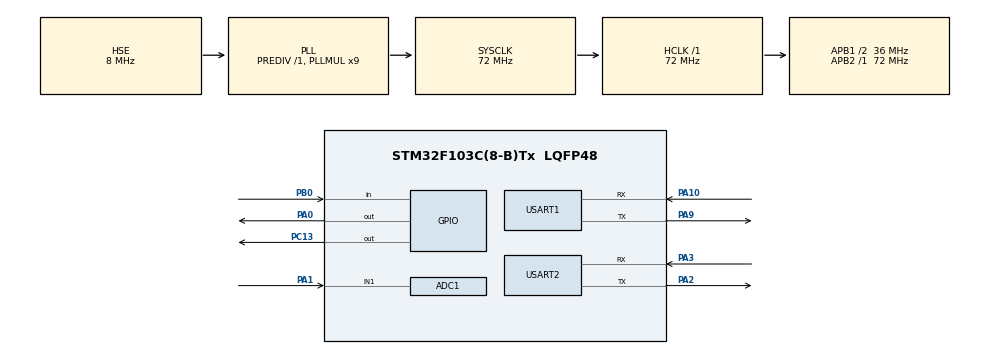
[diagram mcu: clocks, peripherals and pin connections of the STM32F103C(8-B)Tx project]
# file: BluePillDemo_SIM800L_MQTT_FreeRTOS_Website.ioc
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ADC1.Channel-0\#ChannelRegularConversion=ADC_CHANNEL_1
ADC1.NbrOfConversionFlag=1
ADC1.Rank-0\#ChannelRegularConversion=1
ADC1.SamplingTime-0\#ChannelRegularConversion=ADC_SAMPLETIME_1CYCLE_5
ADC1.master=1
Dma.Request0=USART1_RX
Dma.Request1=USART1_TX
Dma.USART1_RX.0.Direction=DMA_PERIPH_TO_MEMORY
Dma.USART1_RX.0.Instance=DMA1_Channel5
Dma.USART1_RX.0.MemDataAlignment=DMA_MDATAALIGN_BYTE
Dma.USART1_RX.0.MemInc=DMA_MINC_ENABLE
Dma.USART1_RX.0.Mode=DMA_CIRCULAR
Dma.USART1_RX.0.PeriphDataAlignment=DMA_PDATAALIGN_BYTE
Dma.USART1_RX.0.PeriphInc=DMA_PINC_DISABLE
Dma.USART1_RX.0.Priority=DMA_PRIORITY_VERY_HIGH
Dma.USART1_TX.1.Direction=DMA_MEMORY_TO_PERIPH
Dma.USART1_TX.1.Instance=DMA1_Channel4
Dma.USART1_TX.1.MemDataAlignment=DMA_MDATAALIGN_BYTE
Dma.USART1_TX.1.MemInc=DMA_MINC_ENABLE
Dma.USART1_TX.1.Mode=DMA_NORMAL
Dma.USART1_TX.1.PeriphDataAlignment=DMA_PDATAALIGN_BYTE
Dma.USART1_TX.1.PeriphInc=DMA_PINC_DISABLE
Dma.USART1_TX.1.Priority=DMA_PRIORITY_VERY_HIGH
FREERTOS.Queues01=commandQueue,1,AtCommandPacket_t,0,Static,commandQueueBuffer,commandQueueControlBlock;responseQueue,1,AtResponsePacket_t,0,Static,responseQueueBuffer,responseQueueControlBlock
FREERTOS.RecursiveMutexes01=modemMutex,Static,modemMutexControlBlock
FREERTOS.Tasks01=main,24,250,mainTask,Default,NULL,Static,mainBuffer,mainControlBlock;modem,8,350,modemTask,Default,NULL,Static,modemBuffer,modemControlBlock
FREERTOS.configCHECK_FOR_STACK_OVERFLOW=2
Mcu.Family=STM32F1
Mcu.Name=STM32F103C(8-B)Tx
Mcu.Package=LQFP48
NVIC.ADC1_2_IRQn=true\:5\:0\:false\:false\:true\:true\:true\:true
NVIC.DMA1_Channel4_IRQn=true\:5\:0\:false\:false\:true\:true\:false\:true
NVIC.DMA1_Channel5_IRQn=true\:5\:0\:false\:false\:true\:true\:false\:true
NVIC.PriorityGroup=NVIC_PRIORITYGROUP_4
NVIC.TIM1_UP_IRQn=true\:0\:0\:false\:false\:true\:false\:false\:true
NVIC.TimeBase=TIM1_UP_IRQn
NVIC.TimeBaseIP=TIM1
NVIC.USART1_IRQn=true\:5\:0\:false\:false\:true\:true\:true\:true
PA0-WKUP.Signal=GPIO_Output
PA1.Signal=ADCx_IN1
PA10.Mode=Asynchronous
PA10.Signal=USART1_RX
PA13.Mode=Serial_Wire
PA13.Signal=SYS_JTMS-SWDIO
PA14.Mode=Serial_Wire
PA14.Signal=SYS_JTCK-SWCLK
PA2.Mode=Asynchronous
PA2.Signal=USART2_TX
PA3.Mode=Asynchronous
PA3.Signal=USART2_RX
PA9.Mode=Asynchronous
PA9.Signal=USART1_TX
PB0.GPIO_PuPd=GPIO_PULLUP
PB0.Signal=GPIO_Input
PC13-TAMPER-RTC.PinState=GPIO_PIN_SET
PC13-TAMPER-RTC.Signal=GPIO_Output
PC14-OSC32_IN.Mode=LSE-External-Oscillator
PC14-OSC32_IN.Signal=RCC_OSC32_IN
PC15-OSC32_OUT.Mode=LSE-External-Oscillator
PC15-OSC32_OUT.Signal=RCC_OSC32_OUT
PD0-OSC_IN.Mode=HSE-External-Oscillator
PD0-OSC_IN.Signal=RCC_OSC_IN
PD1-OSC_OUT.Mode=HSE-External-Oscillator
PD1-OSC_OUT.Signal=RCC_OSC_OUT
ProjectManager.HeapSize=0x200
ProjectManager.StackSize=0x400
ProjectManager.TargetToolchain=STM32CubeIDE
RCC.ADCPresc=RCC_ADCPCLK2_DIV6
RCC.AHBFreq_Value=72000000
RCC.APB1CLKDivider=RCC_HCLK_DIV2
RCC.APB1Freq_Value=36000000
RCC.APB1TimFreq_Value=72000000
RCC.APB2Freq_Value=72000000
RCC.APB2TimFreq_Value=72000000
RCC.HCLKFreq_Value=72000000
RCC.PLLMUL=RCC_PLL_MUL9
RCC.PLLSourceVirtual=RCC_PLLSOURCE_HSE
RCC.SYSCLKFreq_VALUE=72000000
RCC.SYSCLKSource=RCC_SYSCLKSOURCE_PLLCLK
RCC.USBFreq_Value=72000000
SH.ADCx_IN1.0=ADC1_IN1,IN1
USART1.VirtualMode=VM_ASYNC
USART2.VirtualMode=VM_ASYNC
VP_FREERTOS_VS_CMSIS_V2.Mode=CMSIS_V2
VP_SYS_VS_tim1.Mode=TIM1
board=custom

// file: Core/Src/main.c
/* USER CODE BEGIN Header */
/**
  ******************************************************************************
  * @file           : main.c
  * @brief          : Main program body
  ******************************************************************************
  * @attention
  *
  * <h2><center>&copy; Copyright (c) 2020 STMicroelectronics.
  * All rights reserved.</center></h2>
  *
  * This software component is licensed by ST under BSD 3-Clause license,
  * the "License"; You may not use this file except in compliance with the
  * License. You may obtain a copy of the License at:
  *                        opensource.org/licenses/BSD-3-Clause
  *
  ******************************************************************************
  */
/* USER CODE END Header */

#include "main.h"
#include "cmsis_os.h"

/* USER CODE BEGIN Includes */
#include <stdlib.h>
#include <string.h>
#include "task.h"
#include "modem.h"
#include "buffered_serial.h"
#include "mqtt.h"

/* USER CODE END Includes */

/* USER CODE BEGIN PD */
#define ACCESS_POINT_NAME		"everywhere"
#define USER_NAME				"eesecure"
#define PASSWORD				"secure"

/* USER CODE END PD */

ADC_HandleTypeDef hadc1;

UART_HandleTypeDef huart1;
UART_HandleTypeDef huart2;
DMA_HandleTypeDef hdma_usart1_rx;
DMA_HandleTypeDef hdma_usart1_tx;

typedef StaticTask_t osStaticThreadDef_t;
typedef StaticQueue_t osStaticMessageQDef_t;
typedef StaticSemaphore_t osStaticMutexDef_t;
osThreadId_t mainHandle;
uint32_t mainBuffer[ 250 ];
osStaticThreadDef_t mainControlBlock;
osThreadId_t modemHandle;
uint32_t modemBuffer[ 350 ];
osStaticThreadDef_t modemControlBlock;
osMessageQueueId_t commandQueueHandle;
uint8_t commandQueueBuffer[ 1 * sizeof( AtCommandPacket_t ) ];
osStaticMessageQDef_t commandQueueControlBlock;
osMessageQueueId_t responseQueueHandle;
uint8_t responseQueueBuffer[ 1 * sizeof( AtResponsePacket_t ) ];
osStaticMessageQDef_t responseQueueControlBlock;
osMutexId_t modemMutexHandle;
osStaticMutexDef_t modemMutexControlBlock;
/* USER CODE BEGIN PV */
osEventFlagsId_t modemTaskStartedEventHandle;
static bool subscribeResponseReceived;
static uint16_t subscribeResponsePacketIdentifier;
volatile static bool adcConversionComplete;

/* USER CODE END PV */

void SystemClock_Config(void);
static void MX_GPIO_Init(void);
static void MX_DMA_Init(void);
static void MX_ADC1_Init(void);
static void MX_USART1_UART_Init(void);
static void MX_USART2_UART_Init(void);
void mainTask(void *argument);
void modemTask(void *argument);

/* USER CODE BEGIN PFP */
void DebugPrint(const char *text);
void ModemDebugPrintStatus(const char *text, ModemStatus_t modemStatus);
void MqttDebugPrintStatus(const char *text, MqttStatus_t mqttStatus);
void PublishCallback(const char *topic, uint8_t topicLength, const uint8_t *payload, uint32_t payloadLength);
void PingResponseCallback(void);
void SubscribeResponseCallback(uint16_t packetIdentifier, bool success);
void UnsubscribeResponseCallback(uint16_t packetIdentifier);

/* USER CODE END PFP */

/* USER CODE BEGIN 0 */

void PublishCallback(const char *topic, uint8_t topicLength, const uint8_t *payload, uint32_t payloadLength)
{
  DebugPrint("Publish callback: ");
  HAL_UART_Transmit(&huart2, (uint8_t *)topic, topicLength, 100U);
  DebugPrint(",");
  HAL_UART_Transmit(&huart2, (uint8_t *)payload, payloadLength, 100U);
  DebugPrint("\r\n");

  if (topicLength == 18U && memcmp(topic, "BluePillDemo/test3", topicLength) == 0)
  {
	  if (payloadLength == 1UL)
	  {
		  if (*payload == '0')
		  {
			  HAL_GPIO_WritePin(GPIOC, GPIO_PIN_13, GPIO_PIN_SET);
		  }
		  else if (*payload == '1')
		  {
			  HAL_GPIO_WritePin(GPIOC, GPIO_PIN_13, GPIO_PIN_RESET);
		  }
	  }
  }
}

void PingResponseCallback(void)
{
}

void SubscribeResponseCallback(uint16_t packetIdentifier, bool success)
{
  subscribeResponseReceived = success;
  subscribeResponsePacketIdentifier = packetIdentifier;
  char numberBuffer[10];

  DebugPrint("Subscribe response callback: ");
  if (success)
  {
	DebugPrint("success,");
  }
  else
  {
	DebugPrint("fail,");
  }
  itoa((int)packetIdentifier, numberBuffer, 10);
  DebugPrint(numberBuffer);
  DebugPrint("\r\n");
}

void UnsubscribeResponseCallback(uint16_t packetIdentifier)
{
}

void MqttDebugPrintStatus(const char *text, MqttStatus_t mqttStatus)
{
  DebugPrint(text);
  DebugPrint(": ");
  DebugPrint(MqttStatusToText(mqttStatus));
  DebugPrint("\r\n");
}

void DebugPrint(const char *text)
{
  HAL_UART_Transmit(&huart2, (uint8_t *)text, strlen(text), 100U);
}

void ModemDebugPrintStatus(const char *text, ModemStatus_t modemStatus)
{
  DebugPrint(text);
  DebugPrint(": ");
  DebugPrint(ModemStatusToText(modemStatus));
  DebugPrint("\r\n");
}

void HAL_ADC_ConvCpltCallback(ADC_HandleTypeDef* hadc)
{
	adcConversionComplete = true;
}

/* USER CODE END 0 */

int main(void)
{

  /* MCU Configuration--------------------------------------------------------*/

  /* Reset of all peripherals, Initializes the Flash interface and the Systick. */
  HAL_Init();

  /* Configure the system clock */
  SystemClock_Config();

  /* Initialize all configured peripherals */
  MX_GPIO_Init();
  MX_DMA_Init();
  MX_ADC1_Init();
  MX_USART1_UART_Init();
  MX_USART2_UART_Init();
  /* USER CODE BEGIN 2 */
  serial_init();
  HAL_UART_Transmit(&huart2, (uint8_t *)"MQTT Test\r\n", 11U, 100UL);

  /* USER CODE END 2 */

  osKernelInitialize();

  /* Create the recursive mutex(es) */
  /* definition and creation of modemMutex */
  const osMutexAttr_t modemMutex_attributes = {
    .name = "modemMutex",
    .attr_bits = osMutexRecursive,
    .cb_mem = &modemMutexControlBlock,
    .cb_size = sizeof(modemMutexControlBlock),
  };
  modemMutexHandle = osMutexNew(&modemMutex_attributes);

  /* USER CODE BEGIN RTOS_SEMAPHORES */
  /* add semaphores, ... */
  modemTaskStartedEventHandle = osEventFlagsNew(NULL);

  /* USER CODE END RTOS_SEMAPHORES */

  /* Create the queue(s) */
  /* definition and creation of commandQueue */
  const osMessageQueueAttr_t commandQueue_attributes = {
    .name = "commandQueue",
    .cb_mem = &commandQueueControlBlock,
    .cb_size = sizeof(commandQueueControlBlock),
    .mq_mem = &commandQueueBuffer,
    .mq_size = sizeof(commandQueueBuffer)
  };
  commandQueueHandle = osMessageQueueNew (1, sizeof(AtCommandPacket_t), &commandQueue_attributes);

  /* definition and creation of responseQueue */
  const osMessageQueueAttr_t responseQueue_attributes = {
    .name = "responseQueue",
    .cb_mem = &responseQueueControlBlock,
    .cb_size = sizeof(responseQueueControlBlock),
    .mq_mem = &responseQueueBuffer,
    .mq_size = sizeof(responseQueueBuffer)
  };
  responseQueueHandle = osMessageQueueNew (1, sizeof(AtResponsePacket_t), &responseQueue_attributes);

  /* Create the thread(s) */
  /* definition and creation of main */
  const osThreadAttr_t main_attributes = {
    .name = "main",
    .stack_mem = &mainBuffer[0],
    .stack_size = sizeof(mainBuffer),
    .cb_mem = &mainControlBlock,
    .cb_size = sizeof(mainControlBlock),
    .priority = (osPriority_t) osPriorityNormal,
  };
  mainHandle = osThreadNew(mainTask, NULL, &main_attributes);

  /* definition and creation of modem */
  const osThreadAttr_t modem_attributes = {
    .name = "modem",
    .stack_mem = &modemBuffer[0],
    .stack_size = sizeof(modemBuffer),
    .cb_mem = &modemControlBlock,
    .cb_size = sizeof(modemControlBlock),
    .priority = (osPriority_t) osPriorityLow,
  };
  modemHandle = osThreadNew(modemTask, NULL, &modem_attributes);

  /* Start scheduler */
  osKernelStart();

  /* We should never get here as control is now taken by the scheduler */

  /* Infinite loop */
  while (1)
  {

  }
}

void SystemClock_Config(void)
{
  RCC_OscInitTypeDef RCC_OscInitStruct = {0};
  RCC_ClkInitTypeDef RCC_ClkInitStruct = {0};
  RCC_PeriphCLKInitTypeDef PeriphClkInit = {0};

  /** Initializes the CPU, AHB and APB busses clocks
  */
  RCC_OscInitStruct.OscillatorType = RCC_OSCILLATORTYPE_HSE;
  RCC_OscInitStruct.HSEState = RCC_HSE_ON;
  RCC_OscInitStruct.HSEPredivValue = RCC_HSE_PREDIV_DIV1;
  RCC_OscInitStruct.HSIState = RCC_HSI_ON;
  RCC_OscInitStruct.PLL.PLLState = RCC_PLL_ON;
  RCC_OscInitStruct.PLL.PLLSource = RCC_PLLSOURCE_HSE;
  RCC_OscInitStruct.PLL.PLLMUL = RCC_PLL_MUL9;
  if (HAL_RCC_OscConfig(&RCC_OscInitStruct) != HAL_OK)
  {
    Error_Handler();
  }
  /** Initializes the CPU, AHB and APB busses clocks
  */
  RCC_ClkInitStruct.ClockType = RCC_CLOCKTYPE_HCLK|RCC_CLOCKTYPE_SYSCLK
                              |RCC_CLOCKTYPE_PCLK1|RCC_CLOCKTYPE_PCLK2;
  RCC_ClkInitStruct.SYSCLKSource = RCC_SYSCLKSOURCE_PLLCLK;
  RCC_ClkInitStruct.AHBCLKDivider = RCC_SYSCLK_DIV1;
  RCC_ClkInitStruct.APB1CLKDivider = RCC_HCLK_DIV2;
  RCC_ClkInitStruct.APB2CLKDivider = RCC_HCLK_DIV1;

  if (HAL_RCC_ClockConfig(&RCC_ClkInitStruct, FLASH_LATENCY_2) != HAL_OK)
  {
    Error_Handler();
  }
  PeriphClkInit.PeriphClockSelection = RCC_PERIPHCLK_ADC;
  PeriphClkInit.AdcClockSelection = RCC_ADCPCLK2_DIV6;
  if (HAL_RCCEx_PeriphCLKConfig(&PeriphClkInit) != HAL_OK)
  {
    Error_Handler();
  }
}

static void MX_ADC1_Init(void)
{

  ADC_ChannelConfTypeDef sConfig = {0};

  /** Common config
  */
  hadc1.Instance = ADC1;
  hadc1.Init.ScanConvMode = ADC_SCAN_DISABLE;
  hadc1.Init.ContinuousConvMode = DISABLE;
  hadc1.Init.DiscontinuousConvMode = DISABLE;
  hadc1.Init.ExternalTrigConv = ADC_SOFTWARE_START;
  hadc1.Init.DataAlign = ADC_DATAALIGN_RIGHT;
  hadc1.Init.NbrOfConversion = 1;
  if (HAL_ADC_Init(&hadc1) != HAL_OK)
  {
    Error_Handler();
  }
  /** Configure Regular Channel
  */
  sConfig.Channel = ADC_CHANNEL_1;
  sConfig.Rank = ADC_REGULAR_RANK_1;
  sConfig.SamplingTime = ADC_SAMPLETIME_1CYCLE_5;
  if (HAL_ADC_ConfigChannel(&hadc1, &sConfig) != HAL_OK)
  {
    Error_Handler();
  }

}

static void MX_USART1_UART_Init(void)
{

  huart1.Instance = USART1;
  huart1.Init.BaudRate = 115200;
  huart1.Init.WordLength = UART_WORDLENGTH_8B;
  huart1.Init.StopBits = UART_STOPBITS_1;
  huart1.Init.Parity = UART_PARITY_NONE;
  huart1.Init.Mode = UART_MODE_TX_RX;
  huart1.Init.HwFlowCtl = UART_HWCONTROL_NONE;
  huart1.Init.OverSampling = UART_OVERSAMPLING_16;
  if (HAL_UART_Init(&huart1) != HAL_OK)
  {
    Error_Handler();
  }

}

static void MX_USART2_UART_Init(void)
{

  huart2.Instance = USART2;
  huart2.Init.BaudRate = 115200;
  huart2.Init.WordLength = UART_WORDLENGTH_8B;
  huart2.Init.StopBits = UART_STOPBITS_1;
  huart2.Init.Parity = UART_PARITY_NONE;
  huart2.Init.Mode = UART_MODE_TX_RX;
  huart2.Init.HwFlowCtl = UART_HWCONTROL_NONE;
  huart2.Init.OverSampling = UART_OVERSAMPLING_16;
  if (HAL_UART_Init(&huart2) != HAL_OK)
  {
    Error_Handler();
  }

}

static void MX_DMA_Init(void)
{

  /* DMA controller clock enable */
  __HAL_RCC_DMA1_CLK_ENABLE();

  /* DMA interrupt init */
  /* DMA1_Channel4_IRQn interrupt configuration */
  HAL_NVIC_SetPriority(DMA1_Channel4_IRQn, 5, 0);
  HAL_NVIC_EnableIRQ(DMA1_Channel4_IRQn);
  /* DMA1_Channel5_IRQn interrupt configuration */
  HAL_NVIC_SetPriority(DMA1_Channel5_IRQn, 5, 0);
  HAL_NVIC_EnableIRQ(DMA1_Channel5_IRQn);

}

static void MX_GPIO_Init(void)
{
  GPIO_InitTypeDef GPIO_InitStruct = {0};

  /* GPIO Ports Clock Enable */
  __HAL_RCC_GPIOC_CLK_ENABLE();
  __HAL_RCC_GPIOD_CLK_ENABLE();
  __HAL_RCC_GPIOA_CLK_ENABLE();
  __HAL_RCC_GPIOB_CLK_ENABLE();

  /*Configure GPIO pin Output Level */
  HAL_GPIO_WritePin(GPIOC, GPIO_PIN_13, GPIO_PIN_SET);

  /*Configure GPIO pin Output Level */
  HAL_GPIO_WritePin(GPIOA, GPIO_PIN_0, GPIO_PIN_RESET);

  /*Configure GPIO pin : PC13 */
  GPIO_InitStruct.Pin = GPIO_PIN_13;
  GPIO_InitStruct.Mode = GPIO_MODE_OUTPUT_PP;
  GPIO_InitStruct.Pull = GPIO_NOPULL;
  GPIO_InitStruct.Speed = GPIO_SPEED_FREQ_LOW;
  HAL_GPIO_Init(GPIOC, &GPIO_InitStruct);

  /*Configure GPIO pin : PA0 */
  GPIO_InitStruct.Pin = GPIO_PIN_0;
  GPIO_InitStruct.Mode = GPIO_MODE_OUTPUT_PP;
  GPIO_InitStruct.Pull = GPIO_NOPULL;
  GPIO_InitStruct.Speed = GPIO_SPEED_FREQ_LOW;
  HAL_GPIO_Init(GPIOA, &GPIO_InitStruct);

  /*Configure GPIO pin : PB0 */
  GPIO_InitStruct.Pin = GPIO_PIN_0;
  GPIO_InitStruct.Mode = GPIO_MODE_INPUT;
  GPIO_InitStruct.Pull = GPIO_PULLUP;
  HAL_GPIO_Init(GPIOB, &GPIO_InitStruct);

}

void mainTask(void *argument)
{
  /* USER CODE BEGIN 5 */
  ModemStatus_t modemStatus;
  MqttStatus_t mqttStatus;
  bool registrationStatus;
  uint32_t newScaledAdcValue = 0UL;
  uint32_t previousScaledAdcValue;
  GPIO_PinState newPinState = GPIO_PIN_SET;
  GPIO_PinState previousPinState;
  char ipAddress[MODEM_MAX_IP_ADDRESS_LENGTH];
  char buf[10];
  uint32_t startTime;

  // wait for modem task to start
  osEventFlagsWait(modemTaskStartedEventHandle, 0x00000001UL, osFlagsWaitAny, osWaitForever);

  DebugPrint("Modem task started\r\n");

  DebugPrint("Testing connection to modem\r\n");
  modemStatus = ModemHello(250UL);
  ModemDebugPrintStatus("Hello", modemStatus);

  DebugPrint("Registering on network\r\n");
  do
  {
	modemStatus = ModemGetNetworkRegistrationStatus(&registrationStatus, 250UL);
	osDelay(1000UL);
  } while (!registrationStatus);
  ModemDebugPrintStatus("Register on network", modemStatus);

  DebugPrint("Setting manual data read\r\n");
  modemStatus = ModemSetManualDataRead(250UL);
  ModemDebugPrintStatus("Set manual read", modemStatus);

  DebugPrint("Configuring data connection\r\n");
  modemStatus = ModemConfigureDataConnection(ACCESS_POINT_NAME, USER_NAME, PASSWORD, 250UL);
  ModemDebugPrintStatus("Configure data connection", modemStatus);

  DebugPrint("Activating data connection\r\n");
  modemStatus = ModemActivateDataConnection(10000UL);
  ModemDebugPrintStatus("Activate data connection", modemStatus);

  DebugPrint("Getting own IP address\r\n");
  modemStatus = ModemGetOwnIpAddress(ipAddress, MODEM_MAX_IP_ADDRESS_LENGTH, 250UL);
  ModemDebugPrintStatus("Get own IP address", modemStatus);

  MqttSetPingResponseCallback(PingResponseCallback);
  MqttSetPublishCallback(PublishCallback);
  MqttSetSubscribeResponseCallback(SubscribeResponseCallback);
  MqttSetUnsubscribeResponseCallback(UnsubscribeResponseCallback);

  // open TCP connection to broker
  DebugPrint("Opening TCP connection\r\n");
  modemStatus = ModemOpenTcpConnection("broker.hivemq.com", 1883U, 8000UL);
  ModemDebugPrintStatus("Open TCP connection", modemStatus);

  // connect to broker
  DebugPrint("Connecting to MQTT broker\r\n");
  mqttStatus = MqttConnect("1234", NULL, NULL, 600U, 20000UL);

  MqttDebugPrintStatus("MQTT connect", mqttStatus);
  if (mqttStatus != MQTT_OK)
  {
	DebugPrint("Could not connect, giving up\r\n");
	while (true)
	{
	  osDelay(1000UL);
	}
  }

  // subscribe to BluePillDemo/test3
  DebugPrint("Subscribing to BluePillDemo/test3\r\n");
  subscribeResponseReceived = false;
  mqttStatus = MqttSubscribe("BluePillDemo/test3", 0x0001U, 5000UL);
  MqttDebugPrintStatus("3MQTT subscribe", mqttStatus);

  while (true)
  {
    mqttStatus = MqttHandleResponse(5000UL);
    MqttDebugPrintStatus("MQTT subscribe handle response", mqttStatus);

    if (subscribeResponseReceived)
    {
	  break;
    }
    osDelay(1000UL);
  }
  DebugPrint("MQTT subscribe response received\r\n");

  // kick off first ADC
  HAL_ADC_Start_IT(&hadc1);

  // go into main loop breaking if ADC scaled value is > 95 && push button pressed
  while (newPinState == GPIO_PIN_SET || newScaledAdcValue < 95UL)
  {
	  // wait until previous ADC conversion complete
	while (!adcConversionComplete)
	{
	  osDelay(10UL);
	}

	// kick off next conversion
	adcConversionComplete = false;
	HAL_ADC_Start_IT(&hadc1);

	// read pushbutton state
	newPinState = HAL_GPIO_ReadPin(GPIOB, GPIO_PIN_0);

	// has state changed?
	if (newPinState != previousPinState)
	{
		// it's changed so publish
	  MqttDebugPrintStatus("MQTT publish test2", mqttStatus);
	  if (newPinState == GPIO_PIN_SET)
	  {
		  mqttStatus = MqttPublish("BluePillDemo/test2", (uint8_t *)"1", 1, false, 5000UL);
	  }
	  else
	  {
		  mqttStatus = MqttPublish("BluePillDemo/test2", (uint8_t *)"0", 1, false, 5000UL);
	  }
	  MqttDebugPrintStatus("MQTT publish test2", mqttStatus);
	  previousPinState = newPinState;
	}

	// get latest value scaled to 0-100
	newScaledAdcValue = (HAL_ADC_GetValue(&hadc1) * 100UL) / 4096UL;

	// has it changed?
	if (newScaledAdcValue != previousScaledAdcValue)
	{
	  // it's changed so publish
	  itoa(newScaledAdcValue, buf, 10);
	  mqttStatus = MqttPublish("BluePillDemo/test1", (uint8_t *)buf, strlen(buf), false, 5000UL);
	  MqttDebugPrintStatus("MQTT publish test1", mqttStatus);
	  previousScaledAdcValue = newScaledAdcValue;
	}

	// go into wait loop checking for responses
	startTime = osKernelGetTickCount();
	while (true)
	{
		MqttHandleResponse(5000UL);
		if (osKernelGetTickCount() > startTime + 1000UL)
		{
			break;
		}
	    osDelay(250UL);
	}
  }

  // disconnect from broker
  DebugPrint("Disconnecting from broker\r\n");
  mqttStatus = MqttDisconnect(10000UL);
  MqttDebugPrintStatus("MQTT disconnect", mqttStatus);

  // shut down data connection
  DebugPrint("Deactivating data connection\r\n");
  modemStatus = ModemDeactivateDataConnection(10000UL);
  ModemDebugPrintStatus("Deactivate data connection", modemStatus);

  // power down modem
  DebugPrint("Power down modem");
  modemStatus = ModemPowerDown(10000UL);
  ModemDebugPrintStatus("Power down modem", modemStatus);

  (void)modemStatus;
  (void)mqttStatus;

  /* Infinite loop */
  for(;;)
  {
    osDelay(1);
  }
  /* USER CODE END 5 */
}

void modemTask(void *argument)
{
  /* USER CODE BEGIN modemTask */
  ModemReset();
  ModemInit();

  // signal main task that this thread has started
  osEventFlagsSet(modemTaskStartedEventHandle, 0x00000001U);

  /* Infinite loop */
  DoModemTask();

  for(;;)
  {
    osDelay(1);
  }
  /* USER CODE END modemTask */
}

void HAL_TIM_PeriodElapsedCallback(TIM_HandleTypeDef *htim)
{
  if (htim->Instance == TIM1) {
    HAL_IncTick();
  }
}

void Error_Handler(void)
{
}

/************************ (C) COPYRIGHT STMicroelectronics *****END OF FILE****/
